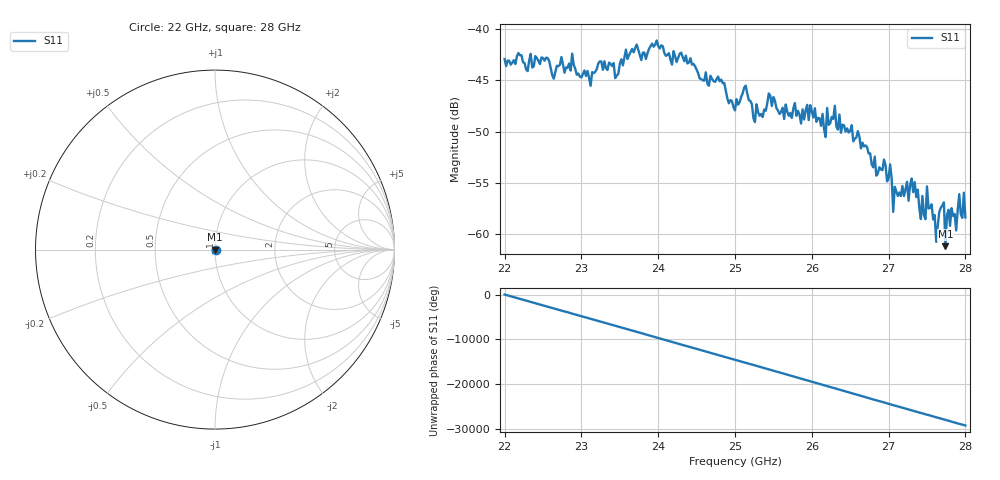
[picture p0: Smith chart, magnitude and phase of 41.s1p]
#  HZ  S  RI  R  50.00
! Rohde & Schwarz ZVA40 4Ports - Version 3.90 - 1145.1110k42 SN: 100403
! Date: 2023-10-04 07:33:37
! Measurement: S12
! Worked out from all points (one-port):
!   301 points, 22 GHz to 28 GHz, reference 50 ohm
!   lowest |S11| = -61.2 dB at 27.74 GHz (marker M1), VSWR 1.00, Z = 49.9 - j0.0103 ohm
!   |S11| at or under -10 dB: start of sweep to end of sweep
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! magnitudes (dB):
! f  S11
! 22 GHz  -42.9
! 22.76 GHz  -43.4
! 23.12 GHz  -45.5
! 23.5 GHz  -43.4
! 23.98 GHz  -41.1
! 24.26 GHz  -42.8
! 25 GHz  -47.9
! 25.14 GHz  -45.5
! 25.26 GHz  -49.1
! 25.44 GHz  -46.3
! 25.76 GHz  -47.7
! 26.3 GHz  -47.5
! 26.5 GHz  -49.9
! 26.84 GHz  -54.3
! 27.02 GHz  -53.2
! 27.06 GHz  -57.9
! 27.08 GHz  -55.4
! 27.26 GHz  -56.8
! 27.3 GHz  -54.6
! 27.48 GHz  -58.6
! 27.5 GHz  -55.4
! 27.62 GHz  -60.8
! 27.72 GHz  -56.9
! 27.74 GHz  -61.2
! 27.76 GHz  -58.2
! 27.88 GHz  -59.7
! 27.92 GHz  -56.1
! 28 GHz  -58.4
